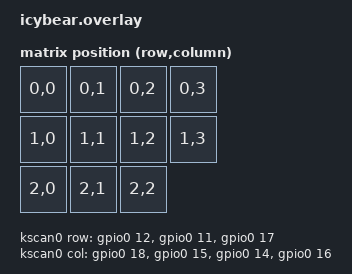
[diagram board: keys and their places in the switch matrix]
/*
 * Copyright (c) 2020 The ZMK Contributors
 *
 * SPDX-License-Identifier: MIT
 */
#include <dt-bindings/zmk/matrix_transform.h>

/ {


    chosen {
        zmk,kscan = &kscan0;
        zmk,matrix_transform = &default_transform;
    };
     default_transform: keymap_transform_0 {
            compatible = "zmk,matrix-transform";
            columns = <14>;
            rows = <5>;
            map = <
    RC(0,0) RC(0,1) RC(0,2) RC(0,3) 
    RC(1,0) RC(1,1) RC(1,2) RC(1,3)
    RC(2,0) RC(2,1) RC(2,2) 
    >;
        }; 
    kscan0: kscan_0 {
        compatible = "zmk,kscan-gpio-matrix";
        label = "KSCAN";
        diode-direction = "col2row";
        
        row-gpios
            = <&gpio0 12 (GPIO_ACTIVE_HIGH | GPIO_PULL_DOWN)> // row 0
            , <&gpio0 11 (GPIO_ACTIVE_HIGH | GPIO_PULL_DOWN)> // row 1
            , <&gpio0 17 (GPIO_ACTIVE_HIGH | GPIO_PULL_DOWN)> // row 2
            ;
            
        col-gpios
            = <&gpio0 18 GPIO_ACTIVE_HIGH> // col 1
            , <&gpio0 15 GPIO_ACTIVE_HIGH> // col 1
            , <&gpio0 14 GPIO_ACTIVE_HIGH> // col 2
            , <&gpio0 16 GPIO_ACTIVE_HIGH> // col 3
            ;

};


};
   

